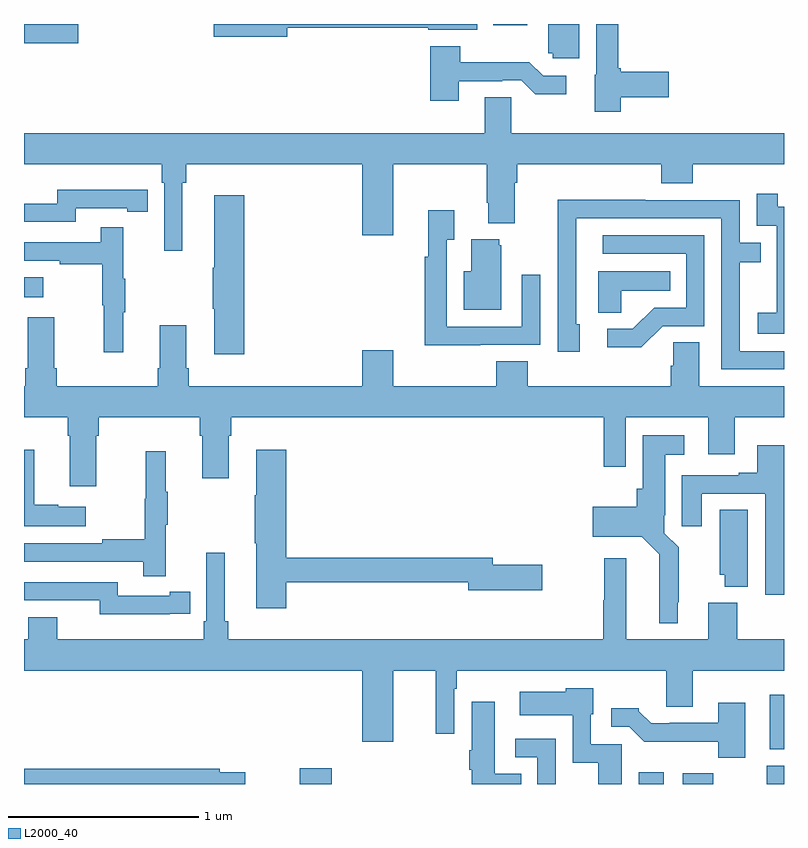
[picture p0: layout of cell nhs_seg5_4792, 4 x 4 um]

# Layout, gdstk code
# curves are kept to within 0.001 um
import gdstk
lib = gdstk.Library(unit=1e-6, precision=1e-09)
def R(c, l, rs):  # rectangles x0, y0, x1, y1
    for r in rs: c.add(gdstk.rectangle(r[:2], r[2:], *l))
def P(c, l, *ps):  # polygons
    for p in ps: c.add(gdstk.Polygon(p, *l))
L2000_40 = (2000, 40)

nhs_seg5_4792 = lib.new_cell('nhs_seg5_4792')
R(nhs_seg5_4792, L2000_40, [(392.45,886.799,392.621,886.882), (394.235,886.799,394.366,886.861), (394.466,886.799,394.628,886.855), (394.91,886.799,395,886.894), (394.925,886.982,395,887.269), (391,889.361,391.102,889.465), (391,890.698,391.285,890.799), (393.471,890.792,393.649,890.799)])
P(nhs_seg5_4792, L2000_40, [(393.922,890.799),(393.758,890.799),(393.758,890.646),(393.783,890.646),(393.783,890.619),(393.922,890.619)],
  [(394.14,890.414),(394.393,890.414),(394.393,890.549),(394.14,890.549),(394.14,890.567),(394.127,890.567),(394.127,890.799),(394.011,890.799),(394.011,890.532),(394.004,890.532),(394.004,890.336),(394.14,890.336)],
  [(392.386,890.779),(393.128,890.779),(393.128,890.768),(393.386,890.768),(393.386,890.799),(391.998,890.799),(391.998,890.732),(392.386,890.732)],
  [(393.289,890.499),(393.518,890.499),(393.518,890.502),(393.618,890.502),(393.691,890.429),(393.853,890.429),(393.853,890.526),(393.732,890.526),(393.659,890.599),(393.297,890.599),(393.297,890.683),(393.137,890.683),(393.137,890.394),(393.289,890.394)],
  [(391,890.06),(391.724,890.06),(391.724,889.964),(391.737,889.964),(391.737,889.605),(391.834,889.605),(391.834,889.964),(391.853,889.964),(391.853,890.06),(392.78,890.06),(392.78,889.686),(392.944,889.686),(392.944,890.06),(393.436,890.06),(393.436,889.858),(393.443,889.858),(393.443,889.751),(393.583,889.751),(393.583,889.964),(393.596,889.964),(393.596,890.06),(394.355,890.06),(394.355,889.961),(394.52,889.961),(394.52,890.06),(395,890.06),(395,890.224),(393.564,890.224),(393.564,890.414),(393.425,890.414),(393.425,890.224),(391,890.224)],
  [(391.272,889.83),(391.544,889.83),(391.544,889.81),(391.652,889.81),(391.652,889.926),(391.544,889.926),(391.544,889.927),(391.176,889.927),(391.176,889.854),(391,889.854),(391,889.758),(391.272,889.758)],
  [(395,889.836),(394.966,889.836),(394.966,889.906),(394.857,889.906),(394.857,889.737),(394.962,889.737),(394.962,889.508),(394.961,889.508),(394.961,889.279),(394.863,889.279),(394.863,889.169),(395,889.169)],
  [(392.159,889.897),(392,889.897),(392,889.517),(391.993,889.517),(391.993,889.3),(392,889.3),(392,889.062),(392.159,889.062)],
  [(395,889.077),(394.767,889.077),(394.767,889.546),(394.877,889.546),(394.877,889.647),(394.767,889.647),(394.767,889.872),(394.271,889.872),(394.271,889.874),(393.808,889.874),(393.808,889.567),(393.81,889.567),(393.81,889.074),(393.925,889.074),(393.925,889.218),(393.906,889.218),(393.906,889.776),(394.671,889.776),(394.671,888.981),(395,888.981)],
  [(393.401,889.11),(393.717,889.11),(393.717,889.48),(393.621,889.48),(393.621,889.206),(393.225,889.206),(393.225,889.663),(393.265,889.663),(393.265,889.819),(393.128,889.819),(393.128,889.574),(393.109,889.574),(393.109,889.109),(393.401,889.109)],
  [(391.523,889.283),(391.534,889.283),(391.534,889.457),(391.523,889.457),(391.523,889.729),(391.405,889.729),(391.405,889.65),(391,889.65),(391,889.554),(391.189,889.554),(391.189,889.534),(391.413,889.534),(391.413,889.32),(391.42,889.32),(391.42,889.071),(391.523,889.071)],
  [(394.362,889.209),(394.581,889.209),(394.581,889.686),(394.047,889.686),(394.047,889.59),(394.485,889.59),(394.485,889.305),(394.316,889.305),(394.205,889.194),(394.071,889.194),(394.071,889.097),(394.249,889.097)],
  [(393.511,889.635),(393.5,889.635),(393.5,889.666),(393.353,889.666),(393.353,889.498),(393.314,889.498),(393.314,889.295),(393.511,889.295)],
  [(394.143,889.394),(394.4,889.394),(394.4,889.498),(394.022,889.498),(394.022,889.279),(394.143,889.279)],
  [(391.381,888.632),(391.394,888.632),(391.394,888.728),(391.925,888.728),(391.925,888.632),(391.937,888.632),(391.937,888.408),(392.077,888.408),(392.077,888.632),(392.09,888.632),(392.09,888.728),(394.051,888.728),(394.051,888.468),(394.167,888.468),(394.167,888.728),(394.601,888.728),(394.601,888.534),(394.741,888.534),(394.741,888.728),(395,888.728),(395,888.892),(394.555,888.892),(394.555,889.124),(394.416,889.124),(394.416,889.001),(394.403,889.001),(394.403,888.892),(393.65,888.892),(393.65,889.025),(393.485,889.025),(393.485,888.892),(392.944,888.892),(392.944,889.081),(392.78,889.081),(392.78,888.892),(391.868,888.892),(391.868,888.988),(391.855,888.988),(391.855,889.213),(391.715,889.213),(391.715,888.988),(391.703,888.988),(391.703,888.892),(391.172,888.892),(391.172,888.988),(391.159,888.988),(391.159,889.255),(391.019,889.255),(391.019,888.988),(391.007,888.988),(391.007,888.892),(391,888.892),(391,888.728),(391.229,888.728),(391.229,888.632),(391.241,888.632),(391.241,888.366),(391.381,888.366)],
  [(394.441,887.755),(394.445,887.755),(394.445,888.046),(394.371,888.12),(394.371,888.214),(394.375,888.214),(394.375,888.533),(394.474,888.533),(394.474,888.634),(394.256,888.634),(394.256,888.354),(394.226,888.354),(394.226,888.259),(393.993,888.259),(393.993,888.101),(394.251,888.101),(394.344,888.008),(394.343,887.645),(394.441,887.645)],
  [(395,888.583),(394.859,888.583),(394.859,888.436),(394.763,888.436),(394.763,888.423),(394.463,888.423),(394.463,888.156),(394.567,888.156),(394.567,888.327),(394.901,888.327),(394.901,887.796),(395,887.796)],
  [(391.324,888.259),(391.181,888.259),(391.181,888.269),(391.054,888.269),(391.054,888.559),(391,888.559),(391,888.155),(391.324,888.155)],
  [(392.381,887.862),(393.338,887.862),(393.338,887.819),(393.727,887.819),(393.727,887.954),(393.466,887.954),(393.466,887.99),(392.381,887.99),(392.381,888.559),(392.222,888.559),(392.222,888.32),(392.215,888.32),(392.215,888.067),(392.222,888.067),(392.222,887.724),(392.381,887.724)],
  [(391.745,888.163),(391.756,888.163),(391.756,888.337),(391.745,888.337),(391.745,888.55),(391.642,888.55),(391.642,888.3),(391.635,888.3),(391.635,888.086),(391.411,888.086),(391.411,888.066),(391,888.066),(391,887.97),(391.627,887.97),(391.627,887.892),(391.745,887.892)],
  [(394.81,888.242),(394.661,888.242),(394.661,887.901),(394.688,887.901),(394.688,887.837),(394.81,887.837)],
  [(392.944,887.396),(393.166,887.396),(393.166,887.064),(393.264,887.064),(393.264,887.3),(393.277,887.3),(393.277,887.396),(394.379,887.396),(394.379,887.206),(394.519,887.206),(394.519,887.396),(395,887.396),(395,887.56),(394.754,887.56),(394.754,887.752),(394.601,887.752),(394.601,887.56),(394.171,887.56),(394.171,887.986),(394.054,887.986),(394.054,887.765),(394.049,887.765),(394.049,887.56),(392.075,887.56),(392.075,887.656),(392.056,887.656),(392.056,888.016),(391.959,888.016),(391.959,887.656),(391.946,887.656),(391.946,887.56),(391.174,887.56),(391.174,887.677),(391.022,887.677),(391.022,887.56),(391,887.56),(391,887.396),(392.78,887.396),(392.78,887.022),(392.944,887.022)],
  [(391.766,887.694),(391.874,887.694),(391.874,887.81),(391.766,887.81),(391.766,887.79),(391.494,887.79),(391.494,887.862),(391,887.862),(391,887.766),(391.398,887.766),(391.398,887.693),(391.766,887.693)],
  [(394.147,887.007),(393.984,887.007),(393.984,887.166),(393.997,887.166),(393.997,887.302),(393.852,887.302),(393.852,887.284),(393.609,887.284),(393.609,887.162),(393.888,887.162),(393.888,886.91),(394.022,886.91),(394.022,886.799),(394.147,886.799)],
  [(393.617,886.852),(393.478,886.852),(393.478,887.233),(393.356,887.233),(393.356,886.976),(393.344,886.976),(393.344,886.873),(393.356,886.873),(393.356,886.799),(393.617,886.799)],
  [(394.795,887.227),(394.655,887.227),(394.655,887.121),(394.399,887.121),(394.399,887.118),(394.3,887.118),(394.236,887.182),(394.236,887.197),(394.092,887.197),(394.092,887.1),(394.185,887.1),(394.264,887.022),(394.653,887.022),(394.653,886.937),(394.795,886.937)],
  [(393.798,887.037),(393.585,887.037),(393.585,886.941),(393.702,886.941),(393.702,886.799),(393.798,886.799)],
  [(392.164,886.86),(392.03,886.86),(392.03,886.88),(391,886.88),(391,886.799),(392.164,886.799)])

lib.write_gds('nhs_seg5_4792.gds')
